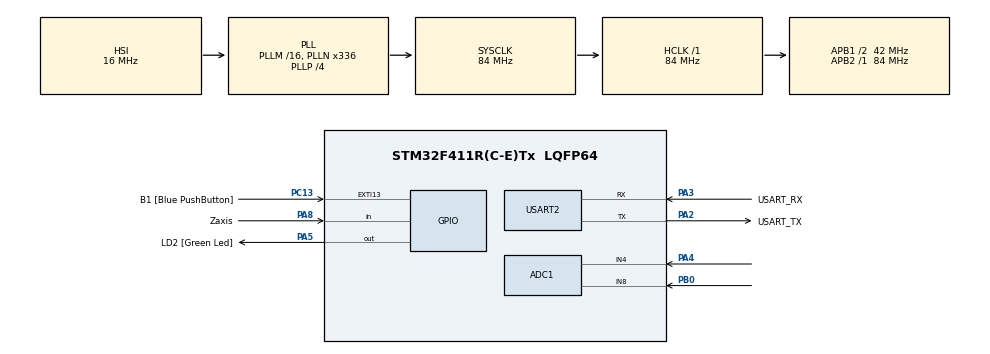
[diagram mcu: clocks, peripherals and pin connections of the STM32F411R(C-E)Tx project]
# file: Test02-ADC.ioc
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ADC1.Channel-5\#ChannelRegularConversion=ADC_CHANNEL_4
ADC1.Channel-6\#ChannelRegularConversion=ADC_CHANNEL_8
ADC1.ContinuousConvMode=DISABLE
ADC1.DMAContinuousRequests=ENABLE
ADC1.DiscontinuousConvMode=ENABLE
ADC1.EOCSelection=ADC_EOC_SEQ_CONV
ADC1.ExternalTrigConv=ADC_EXTERNALTRIGCONV_T3_TRGO
ADC1.ExternalTrigConvEdge=ADC_EXTERNALTRIGCONVEDGE_FALLING
ADC1.NbrOfConversion=2
ADC1.NbrOfConversionFlag=1
ADC1.Rank-5\#ChannelRegularConversion=1
ADC1.Rank-6\#ChannelRegularConversion=2
ADC1.SamplingTime-5\#ChannelRegularConversion=ADC_SAMPLETIME_3CYCLES
ADC1.SamplingTime-6\#ChannelRegularConversion=ADC_SAMPLETIME_3CYCLES
ADC1.ScanConvMode=ENABLE
ADC1.master=1
Dma.ADC1.0.Direction=DMA_PERIPH_TO_MEMORY
Dma.ADC1.0.FIFOMode=DMA_FIFOMODE_DISABLE
Dma.ADC1.0.Instance=DMA2_Stream0
Dma.ADC1.0.MemDataAlignment=DMA_MDATAALIGN_HALFWORD
Dma.ADC1.0.MemInc=DMA_MINC_ENABLE
Dma.ADC1.0.Mode=DMA_CIRCULAR
Dma.ADC1.0.PeriphDataAlignment=DMA_PDATAALIGN_HALFWORD
Dma.ADC1.0.PeriphInc=DMA_PINC_DISABLE
Dma.ADC1.0.Priority=DMA_PRIORITY_LOW
Dma.Request0=ADC1
Mcu.Family=STM32F4
Mcu.Name=STM32F411R(C-E)Tx
Mcu.Package=LQFP64
NVIC.ADC_IRQn=true\:0\:0\:false\:false\:true\:true\:true\:true
NVIC.DMA2_Stream0_IRQn=true\:0\:0\:false\:false\:true\:false\:true\:true
NVIC.PriorityGroup=NVIC_PRIORITYGROUP_0
PA13.GPIO_Label=TMS
PA13.Mode=Serial_Wire
PA13.Signal=SYS_JTMS-SWDIO
PA14.GPIO_Label=TCK
PA14.Mode=Serial_Wire
PA14.Signal=SYS_JTCK-SWCLK
PA2.GPIO_Label=USART_TX
PA2.Mode=Asynchronous
PA2.Signal=USART2_TX
PA3.GPIO_Label=USART_RX
PA3.Mode=Asynchronous
PA3.Signal=USART2_RX
PA4.Signal=ADCx_IN4
PA5.GPIO_Label=LD2 [Green Led]
PA5.Signal=GPIO_Output
PA8.GPIO_Label=Zaxis
PA8.GPIO_PuPd=GPIO_PULLUP
PA8.Signal=GPIO_Input
PB0.Signal=ADCx_IN8
PB3.GPIO_Label=SWO
PB3.Signal=SYS_JTDO-SWO
PC13-ANTI_TAMP.GPIO_Label=B1 [Blue PushButton]
PC13-ANTI_TAMP.GPIO_ModeDefaultEXTI=GPIO_MODE_IT_FALLING
PC13-ANTI_TAMP.Signal=GPXTI13
PC14-OSC32_IN.Mode=LSE-External-Oscillator
PC14-OSC32_IN.Signal=RCC_OSC32_IN
PC15-OSC32_OUT.Mode=LSE-External-Oscillator
PC15-OSC32_OUT.Signal=RCC_OSC32_OUT
PH0\ -\ OSC_IN.Mode=HSE-External-Clock-Source
PH0\ -\ OSC_IN.Signal=RCC_OSC_IN
PH1\ -\ OSC_OUT.Mode=HSE-External-Clock-Source
PH1\ -\ OSC_OUT.Signal=RCC_OSC_OUT
ProjectManager.HeapSize=0x200
ProjectManager.StackSize=0x400
ProjectManager.TargetToolchain=STM32CubeIDE
RCC.48MHZClocksFreq_Value=84000000
RCC.AHBFreq_Value=84000000
RCC.APB1CLKDivider=RCC_HCLK_DIV2
RCC.APB1Freq_Value=42000000
RCC.APB1TimFreq_Value=84000000
RCC.APB2Freq_Value=84000000
RCC.APB2TimFreq_Value=84000000
RCC.CortexFreq_Value=84000000
RCC.FLatency-AdvancedSettings=FLASH_LATENCY_2
RCC.HCLKFreq_Value=84000000
RCC.HSE_VALUE=8000000
RCC.HSI_VALUE=16000000
RCC.PLLN=336
RCC.PLLP=RCC_PLLP_DIV4
RCC.SYSCLKFreq_VALUE=84000000
RCC.SYSCLKSource=RCC_SYSCLKSOURCE_PLLCLK
RCC.VCOOutputFreq_Value=336000000
SH.ADCx_IN4.0=ADC1_IN4,IN4
SH.ADCx_IN8.0=ADC1_IN8,IN8
TIM2.Prescaler=84-1
TIM3.Period=5000-1
TIM3.Prescaler=8400-1
TIM3.TIM_MasterOutputTrigger=TIM_TRGO_UPDATE
USART2.VirtualMode=VM_ASYNC
VP_TIM2_VS_ClockSourceINT.Mode=Internal
VP_TIM3_VS_ClockSourceINT.Mode=Internal
board=NUCLEO-F411RE

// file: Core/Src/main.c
/* USER CODE BEGIN Header */
/**
  ******************************************************************************
  * @file           : main.c
  * @brief          : Main program body
  ******************************************************************************
  * @attention
  *
  * Copyright (c) 2023 STMicroelectronics.
  * All rights reserved.
  *
  * This software is licensed under terms that can be found in the LICENSE file
  * in the root directory of this software component.
  * If no LICENSE file comes with this software, it is provided AS-IS.
  *
  ******************************************************************************
  */
/* USER CODE END Header */
#include "main.h"

ADC_HandleTypeDef hadc1;
DMA_HandleTypeDef hdma_adc1;

TIM_HandleTypeDef htim2;
TIM_HandleTypeDef htim3;

UART_HandleTypeDef huart2;

/* USER CODE BEGIN PV */
#include "../../../myLib/myLib.c"
/* USER CODE END PV */

void SystemClock_Config(void);
static void MX_GPIO_Init(void);
static void MX_DMA_Init(void);
static void MX_USART2_UART_Init(void);
static void MX_ADC1_Init(void);
static void MX_TIM2_Init(void);
static void MX_TIM3_Init(void);

/* USER CODE BEGIN 0 */
void myDelay(int ms)
{
  for(int j=0; j<ms; j++)
    for(int i=0; i<1000; i++)
      noOperation();
}
int GetAdcValue()
{
  HAL_ADC_Start(&hadc1);
  HAL_ADC_PollForConversion(&hadc1, 100);
  int val = HAL_ADC_GetValue(&hadc1);
  return val;
}
//short dValue[2];
int xValue = -1;
int yValue = -1;
int n = 0;
void noOperation() {}
void HAL_ADC_ConvCpltCallback(ADC_HandleTypeDef* hadc) // 1 time
{
  int Value = HAL_ADC_GetValue(&hadc1);
  if(n == 0){ xValue = Value; n++; }
  else{
    yValue = Value;
    n = 0;
    printf("(intr)X Value: %d\r\n",xValue);
    printf("(intr)Y Value: %d\r\n",yValue);
    printf("(intr)Z Value: %d\r\n\n",HAL_GPIO_ReadPin(Zaxis_GPIO_Port, Zaxis_Pin));
  }
  myDelay(1000);
  HAL_ADC_Start_IT(&hadc1);
}
/* USER CODE END 0 */

int main(void)
{

  /* MCU Configuration--------------------------------------------------------*/

  /* Reset of all peripherals, Initializes the Flash interface and the Systick. */
  HAL_Init();

  /* Configure the system clock */
  SystemClock_Config();

  /* Initialize all configured peripherals */
  MX_GPIO_Init();
  MX_DMA_Init();
  MX_USART2_UART_Init();
  MX_ADC1_Init();
  MX_TIM2_Init();
  MX_TIM3_Init();
  /* USER CODE BEGIN 2 */
  HAL_TIM_Base_Start(&htim2);
  printf("\033[1J\033[1;1HProgram Restart...\r\n");

//  HAL_TIM_Base_Start_IT(&htim3);
  HAL_ADC_Start_IT(&hadc1);
//  HAL_ADC_Start_DMA(&hadc1, (int *)dValue, 2);
  printf("ADC DMA started...\r\n");
  /* USER CODE END 2 */

  /* Infinite loop */
  while (1)
  {

    /* USER CODE BEGIN 3 */
//    printf("X Value: %d\r\n",dValue[0]);
//    printf("Y Value: %d\r\n",dValue[1]);
//    printf("Z Value: %d\r\n\n",HAL_GPIO_ReadPin(Zaxis_GPIO_Port, Zaxis_Pin));
//    HAL_Delay(500);
  }
  /* USER CODE END 3 */
}

void SystemClock_Config(void)
{
  RCC_OscInitTypeDef RCC_OscInitStruct = {0};
  RCC_ClkInitTypeDef RCC_ClkInitStruct = {0};

  /** Configure the main internal regulator output voltage
  */
  __HAL_RCC_PWR_CLK_ENABLE();
  __HAL_PWR_VOLTAGESCALING_CONFIG(PWR_REGULATOR_VOLTAGE_SCALE1);

  /** Initializes the RCC Oscillators according to the specified parameters
  * in the RCC_OscInitTypeDef structure.
  */
  RCC_OscInitStruct.OscillatorType = RCC_OSCILLATORTYPE_HSI;
  RCC_OscInitStruct.HSIState = RCC_HSI_ON;
  RCC_OscInitStruct.HSICalibrationValue = RCC_HSICALIBRATION_DEFAULT;
  RCC_OscInitStruct.PLL.PLLState = RCC_PLL_ON;
  RCC_OscInitStruct.PLL.PLLSource = RCC_PLLSOURCE_HSI;
  RCC_OscInitStruct.PLL.PLLM = 16;
  RCC_OscInitStruct.PLL.PLLN = 336;
  RCC_OscInitStruct.PLL.PLLP = RCC_PLLP_DIV4;
  RCC_OscInitStruct.PLL.PLLQ = 4;
  if (HAL_RCC_OscConfig(&RCC_OscInitStruct) != HAL_OK)
  {
    Error_Handler();
  }

  /** Initializes the CPU, AHB and APB buses clocks
  */
  RCC_ClkInitStruct.ClockType = RCC_CLOCKTYPE_HCLK|RCC_CLOCKTYPE_SYSCLK
                              |RCC_CLOCKTYPE_PCLK1|RCC_CLOCKTYPE_PCLK2;
  RCC_ClkInitStruct.SYSCLKSource = RCC_SYSCLKSOURCE_PLLCLK;
  RCC_ClkInitStruct.AHBCLKDivider = RCC_SYSCLK_DIV1;
  RCC_ClkInitStruct.APB1CLKDivider = RCC_HCLK_DIV2;
  RCC_ClkInitStruct.APB2CLKDivider = RCC_HCLK_DIV1;

  if (HAL_RCC_ClockConfig(&RCC_ClkInitStruct, FLASH_LATENCY_2) != HAL_OK)
  {
    Error_Handler();
  }
}

static void MX_ADC1_Init(void)
{

  ADC_ChannelConfTypeDef sConfig = {0};

  /** Configure the global features of the ADC (Clock, Resolution, Data Alignment and number of conversion)
  */
  hadc1.Instance = ADC1;
  hadc1.Init.ClockPrescaler = ADC_CLOCK_SYNC_PCLK_DIV4;
  hadc1.Init.Resolution = ADC_RESOLUTION_12B;
  hadc1.Init.ScanConvMode = ENABLE;
  hadc1.Init.ContinuousConvMode = DISABLE;
  hadc1.Init.DiscontinuousConvMode = ENABLE;
  hadc1.Init.NbrOfDiscConversion = 1;
  hadc1.Init.ExternalTrigConvEdge = ADC_EXTERNALTRIGCONVEDGE_FALLING;
  hadc1.Init.ExternalTrigConv = ADC_EXTERNALTRIGCONV_T3_TRGO;
  hadc1.Init.DataAlign = ADC_DATAALIGN_RIGHT;
  hadc1.Init.NbrOfConversion = 2;
  hadc1.Init.DMAContinuousRequests = ENABLE;
  hadc1.Init.EOCSelection = ADC_EOC_SEQ_CONV;
  if (HAL_ADC_Init(&hadc1) != HAL_OK)
  {
    Error_Handler();
  }

  /** Configure for the selected ADC regular channel its corresponding rank in the sequencer and its sample time.
  */
  sConfig.Channel = ADC_CHANNEL_4;
  sConfig.Rank = 1;
  sConfig.SamplingTime = ADC_SAMPLETIME_3CYCLES;
  if (HAL_ADC_ConfigChannel(&hadc1, &sConfig) != HAL_OK)
  {
    Error_Handler();
  }

  /** Configure for the selected ADC regular channel its corresponding rank in the sequencer and its sample time.
  */
  sConfig.Channel = ADC_CHANNEL_8;
  sConfig.Rank = 2;
  if (HAL_ADC_ConfigChannel(&hadc1, &sConfig) != HAL_OK)
  {
    Error_Handler();
  }

}

static void MX_TIM2_Init(void)
{

  TIM_ClockConfigTypeDef sClockSourceConfig = {0};
  TIM_MasterConfigTypeDef sMasterConfig = {0};

  htim2.Instance = TIM2;
  htim2.Init.Prescaler = 84-1;
  htim2.Init.CounterMode = TIM_COUNTERMODE_UP;
  htim2.Init.Period = 4294967295;
  htim2.Init.ClockDivision = TIM_CLOCKDIVISION_DIV1;
  htim2.Init.AutoReloadPreload = TIM_AUTORELOAD_PRELOAD_DISABLE;
  if (HAL_TIM_Base_Init(&htim2) != HAL_OK)
  {
    Error_Handler();
  }
  sClockSourceConfig.ClockSource = TIM_CLOCKSOURCE_INTERNAL;
  if (HAL_TIM_ConfigClockSource(&htim2, &sClockSourceConfig) != HAL_OK)
  {
    Error_Handler();
  }
  sMasterConfig.MasterOutputTrigger = TIM_TRGO_RESET;
  sMasterConfig.MasterSlaveMode = TIM_MASTERSLAVEMODE_DISABLE;
  if (HAL_TIMEx_MasterConfigSynchronization(&htim2, &sMasterConfig) != HAL_OK)
  {
    Error_Handler();
  }

}

static void MX_TIM3_Init(void)
{

  TIM_ClockConfigTypeDef sClockSourceConfig = {0};
  TIM_MasterConfigTypeDef sMasterConfig = {0};

  htim3.Instance = TIM3;
  htim3.Init.Prescaler = 8400-1;
  htim3.Init.CounterMode = TIM_COUNTERMODE_UP;
  htim3.Init.Period = 5000-1;
  htim3.Init.ClockDivision = TIM_CLOCKDIVISION_DIV1;
  htim3.Init.AutoReloadPreload = TIM_AUTORELOAD_PRELOAD_DISABLE;
  if (HAL_TIM_Base_Init(&htim3) != HAL_OK)
  {
    Error_Handler();
  }
  sClockSourceConfig.ClockSource = TIM_CLOCKSOURCE_INTERNAL;
  if (HAL_TIM_ConfigClockSource(&htim3, &sClockSourceConfig) != HAL_OK)
  {
    Error_Handler();
  }
  sMasterConfig.MasterOutputTrigger = TIM_TRGO_UPDATE;
  sMasterConfig.MasterSlaveMode = TIM_MASTERSLAVEMODE_DISABLE;
  if (HAL_TIMEx_MasterConfigSynchronization(&htim3, &sMasterConfig) != HAL_OK)
  {
    Error_Handler();
  }

}

static void MX_USART2_UART_Init(void)
{

  huart2.Instance = USART2;
  huart2.Init.BaudRate = 115200;
  huart2.Init.WordLength = UART_WORDLENGTH_8B;
  huart2.Init.StopBits = UART_STOPBITS_1;
  huart2.Init.Parity = UART_PARITY_NONE;
  huart2.Init.Mode = UART_MODE_TX_RX;
  huart2.Init.HwFlowCtl = UART_HWCONTROL_NONE;
  huart2.Init.OverSampling = UART_OVERSAMPLING_16;
  if (HAL_UART_Init(&huart2) != HAL_OK)
  {
    Error_Handler();
  }

}

static void MX_DMA_Init(void)
{

  /* DMA controller clock enable */
  __HAL_RCC_DMA2_CLK_ENABLE();

  /* DMA interrupt init */
  /* DMA2_Stream0_IRQn interrupt configuration */
  HAL_NVIC_SetPriority(DMA2_Stream0_IRQn, 0, 0);
  HAL_NVIC_EnableIRQ(DMA2_Stream0_IRQn);

}

static void MX_GPIO_Init(void)
{
  GPIO_InitTypeDef GPIO_InitStruct = {0};

  /* GPIO Ports Clock Enable */
  __HAL_RCC_GPIOC_CLK_ENABLE();
  __HAL_RCC_GPIOH_CLK_ENABLE();
  __HAL_RCC_GPIOA_CLK_ENABLE();
  __HAL_RCC_GPIOB_CLK_ENABLE();

  /*Configure GPIO pin Output Level */
  HAL_GPIO_WritePin(LD2_GPIO_Port, LD2_Pin, GPIO_PIN_RESET);

  /*Configure GPIO pin : B1_Pin */
  GPIO_InitStruct.Pin = B1_Pin;
  GPIO_InitStruct.Mode = GPIO_MODE_IT_FALLING;
  GPIO_InitStruct.Pull = GPIO_NOPULL;
  HAL_GPIO_Init(B1_GPIO_Port, &GPIO_InitStruct);

  /*Configure GPIO pin : LD2_Pin */
  GPIO_InitStruct.Pin = LD2_Pin;
  GPIO_InitStruct.Mode = GPIO_MODE_OUTPUT_PP;
  GPIO_InitStruct.Pull = GPIO_NOPULL;
  GPIO_InitStruct.Speed = GPIO_SPEED_FREQ_LOW;
  HAL_GPIO_Init(LD2_GPIO_Port, &GPIO_InitStruct);

  /*Configure GPIO pin : Zaxis_Pin */
  GPIO_InitStruct.Pin = Zaxis_Pin;
  GPIO_InitStruct.Mode = GPIO_MODE_INPUT;
  GPIO_InitStruct.Pull = GPIO_PULLUP;
  HAL_GPIO_Init(Zaxis_GPIO_Port, &GPIO_InitStruct);

}

void Error_Handler(void)
{
  __disable_irq();
  while (1)
  {
  }
}
